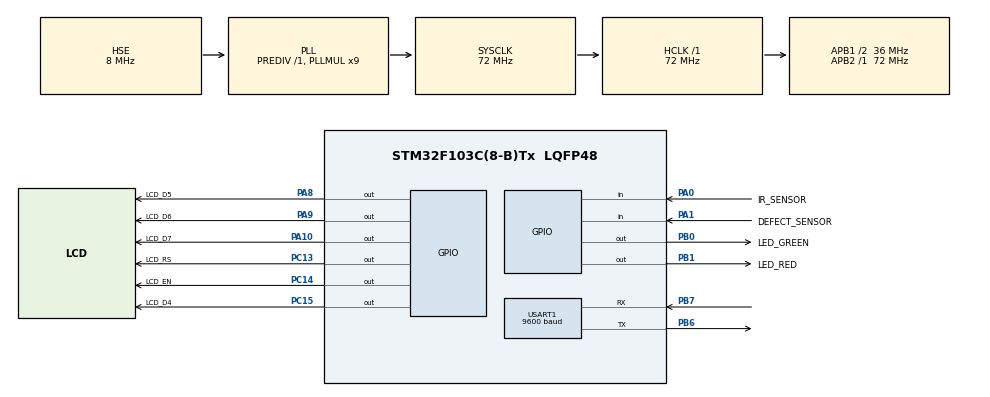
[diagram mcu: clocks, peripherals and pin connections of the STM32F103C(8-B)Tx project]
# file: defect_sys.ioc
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Mcu.Family=STM32F1
Mcu.Name=STM32F103C(8-B)Tx
Mcu.Package=LQFP48
NVIC.PriorityGroup=NVIC_PRIORITYGROUP_4
PA0-WKUP.GPIO_Label=IR_SENSOR
PA0-WKUP.Signal=GPIO_Input
PA1.GPIO_Label=DEFECT_SENSOR
PA1.Signal=GPIO_Input
PA10.GPIO_Label=LCD_D7
PA10.Signal=GPIO_Output
PA13.Mode=Serial_Wire
PA13.Signal=SYS_JTMS-SWDIO
PA14.Mode=Serial_Wire
PA14.Signal=SYS_JTCK-SWCLK
PA8.GPIO_Label=LCD_D5
PA8.Signal=GPIO_Output
PA9.GPIO_Label=LCD_D6
PA9.Signal=GPIO_Output
PB0.GPIO_Label=LED_GREEN
PB0.Signal=GPIO_Output
PB1.GPIO_Label=LED_RED
PB1.Signal=GPIO_Output
PB6.Mode=Asynchronous
PB6.Signal=USART1_TX
PB7.Mode=Asynchronous
PB7.Signal=USART1_RX
PC13-TAMPER-RTC.GPIO_Label=LCD_RS
PC13-TAMPER-RTC.Signal=GPIO_Output
PC14-OSC32_IN.GPIO_Label=LCD_EN
PC14-OSC32_IN.Signal=GPIO_Output
PC15-OSC32_OUT.GPIO_Label=LCD_D4
PC15-OSC32_OUT.Signal=GPIO_Output
PD0-OSC_IN.Mode=HSE-External-Oscillator
PD0-OSC_IN.Signal=RCC_OSC_IN
PD1-OSC_OUT.Mode=HSE-External-Oscillator
PD1-OSC_OUT.Signal=RCC_OSC_OUT
ProjectManager.HeapSize=0x200
ProjectManager.StackSize=0x400
ProjectManager.TargetToolchain=STM32CubeIDE
RCC.AHBFreq_Value=72000000
RCC.APB1CLKDivider=RCC_HCLK_DIV2
RCC.APB1Freq_Value=36000000
RCC.APB1TimFreq_Value=72000000
RCC.APB2Freq_Value=72000000
RCC.APB2TimFreq_Value=72000000
RCC.HCLKFreq_Value=72000000
RCC.PLLMUL=RCC_PLL_MUL9
RCC.PLLSourceVirtual=RCC_PLLSOURCE_HSE
RCC.SYSCLKFreq_VALUE=72000000
RCC.SYSCLKSource=RCC_SYSCLKSOURCE_PLLCLK
RCC.USBFreq_Value=72000000
USART1.BaudRate=9600
USART1.VirtualMode=VM_ASYNC
board=custom

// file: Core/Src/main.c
/* USER CODE BEGIN Header */
/**
  ******************************************************************************
  * @file           : main.c
  * @brief          : Main program body
  ******************************************************************************
  * @attention
  *
  * Copyright (c) 2026 STMicroelectronics.
  * All rights reserved.
  *
  * This software is licensed under terms that can be found in the LICENSE file
  * in the root directory of this software component.
  * If no LICENSE file comes with this software, it is provided AS-IS.
  *
  ******************************************************************************
  */
/* USER CODE END Header */
#include "main.h"
#include "usart.h"
#include "gpio.h"

/* USER CODE BEGIN Includes */
#include <string.h>
#include <stdio.h>
/* USER CODE END Includes */

/* USER CODE BEGIN PD */
#define LCD_RS_GPIO_Port   GPIOC
#define LCD_RS_Pin         GPIO_PIN_13
#define LCD_EN_GPIO_Port   GPIOC
#define LCD_EN_Pin         GPIO_PIN_14

#define LCD_D4_GPIO_Port   GPIOC
#define LCD_D4_Pin         GPIO_PIN_15
#define LCD_D5_GPIO_Port   GPIOA
#define LCD_D5_Pin         GPIO_PIN_8
#define LCD_D6_GPIO_Port   GPIOA
#define LCD_D6_Pin         GPIO_PIN_9
#define LCD_D7_GPIO_Port   GPIOA
#define LCD_D7_Pin         GPIO_PIN_10
/* USER CODE END PD */

/* USER CODE BEGIN PV */
int total_products = 0;
int healthy_products = 0;
int defect_products = 0;
/* USER CODE END PV */

void SystemClock_Config(void);
/* USER CODE BEGIN PFP */
void LCD_Init(void);
void LCD_Command(uint8_t cmd);
void LCD_Data(uint8_t data);
void LCD_SendString(char *str);
void LCD_SetCursor(uint8_t row, uint8_t col);
void Update_LCD_Display(int total, int healthy, int defect);
/* USER CODE END PFP */

int main(void)
{

  /* MCU Configuration--------------------------------------------------------*/

  /* Reset of all peripherals, Initializes the Flash interface and the Systick. */
  HAL_Init();

  /* Configure the system clock */
  SystemClock_Config();

  /* Initialize all configured peripherals */
  MX_GPIO_Init();
  MX_USART1_UART_Init();
  /* USER CODE BEGIN 2 */
  LCD_Init();

    // Display Startup Splash Screen
  LCD_SetCursor(1, 1);
  LCD_SendString("System Ready...");
  HAL_Delay(1000);
  LCD_Command(0x01); // Flush and Clear LCD

  Update_LCD_Display(total_products, healthy_products, defect_products);
  /* USER CODE END 2 */

  /* Infinite loop */
  /* USER CODE BEGIN WHILE */
    while (1)
    {
      if (HAL_GPIO_ReadPin(GPIOA, GPIO_PIN_0) == GPIO_PIN_SET)
      {
        total_products++;

        if (HAL_GPIO_ReadPin(GPIOA, GPIO_PIN_1) == GPIO_PIN_SET)
        {
          defect_products++;

          HAL_GPIO_WritePin(GPIOB, GPIO_PIN_1, GPIO_PIN_SET);
          HAL_GPIO_WritePin(GPIOB, GPIO_PIN_0, GPIO_PIN_RESET);

          char *msg = "problem\r\n";
          HAL_UART_Transmit(&huart1, (uint8_t*)msg, strlen(msg), HAL_MAX_DELAY);
        }
        else
        {
          healthy_products++;

          HAL_GPIO_WritePin(GPIOB, GPIO_PIN_0, GPIO_PIN_SET);
          HAL_GPIO_WritePin(GPIOB, GPIO_PIN_1, GPIO_PIN_RESET);

          char *msg = "healthy\r\n";
          HAL_UART_Transmit(&huart1, (uint8_t*)msg, strlen(msg), HAL_MAX_DELAY);
        }

        Update_LCD_Display(total_products, healthy_products, defect_products);

        HAL_Delay(1000);

        HAL_GPIO_WritePin(GPIOB, GPIO_PIN_0, GPIO_PIN_RESET);
        HAL_GPIO_WritePin(GPIOB, GPIO_PIN_1, GPIO_PIN_RESET);
      }

      HAL_Delay(50); // Small cycle delay to prevent simulation processing locking
    /* USER CODE END WHILE */

  }
}

void SystemClock_Config(void)
{
  RCC_OscInitTypeDef RCC_OscInitStruct = {0};
  RCC_ClkInitTypeDef RCC_ClkInitStruct = {0};

  /** Initializes the RCC Oscillators according to the specified parameters
  * in the RCC_OscInitTypeDef structure.
  */
  RCC_OscInitStruct.OscillatorType = RCC_OSCILLATORTYPE_HSE;
  RCC_OscInitStruct.HSEState = RCC_HSE_ON;
  RCC_OscInitStruct.HSEPredivValue = RCC_HSE_PREDIV_DIV1;
  RCC_OscInitStruct.HSIState = RCC_HSI_ON;
  RCC_OscInitStruct.PLL.PLLState = RCC_PLL_ON;
  RCC_OscInitStruct.PLL.PLLSource = RCC_PLLSOURCE_HSE;
  RCC_OscInitStruct.PLL.PLLMUL = RCC_PLL_MUL9;
  if (HAL_RCC_OscConfig(&RCC_OscInitStruct) != HAL_OK)
  {
    Error_Handler();
  }

  /** Initializes the CPU, AHB and APB buses clocks
  */
  RCC_ClkInitStruct.ClockType = RCC_CLOCKTYPE_HCLK|RCC_CLOCKTYPE_SYSCLK
                              |RCC_CLOCKTYPE_PCLK1|RCC_CLOCKTYPE_PCLK2;
  RCC_ClkInitStruct.SYSCLKSource = RCC_SYSCLKSOURCE_PLLCLK;
  RCC_ClkInitStruct.AHBCLKDivider = RCC_SYSCLK_DIV1;
  RCC_ClkInitStruct.APB1CLKDivider = RCC_HCLK_DIV2;
  RCC_ClkInitStruct.APB2CLKDivider = RCC_HCLK_DIV1;

  if (HAL_RCC_ClockConfig(&RCC_ClkInitStruct, FLASH_LATENCY_2) != HAL_OK)
  {
    Error_Handler();
  }
}

/* USER CODE BEGIN 4 */
void LCD_EnablePulse(void)
{
  HAL_GPIO_WritePin(LCD_EN_GPIO_Port, LCD_EN_Pin, GPIO_PIN_SET);
  HAL_Delay(1);
  HAL_GPIO_WritePin(LCD_EN_GPIO_Port, LCD_EN_Pin, GPIO_PIN_RESET);
  HAL_Delay(1);
}

void LCD_Send4Bit(uint8_t val)
{
  HAL_GPIO_WritePin(LCD_D4_GPIO_Port, LCD_D4_Pin, (val >> 0) & 0x01);
  HAL_GPIO_WritePin(LCD_D5_GPIO_Port, LCD_D5_Pin, (val >> 1) & 0x01);
  HAL_GPIO_WritePin(LCD_D6_GPIO_Port, LCD_D6_Pin, (val >> 2) & 0x01);
  HAL_GPIO_WritePin(LCD_D7_GPIO_Port, LCD_D7_Pin, (val >> 3) & 0x01);
  LCD_EnablePulse();
}

void LCD_Command(uint8_t cmd)
{
  HAL_GPIO_WritePin(LCD_RS_GPIO_Port, LCD_RS_Pin, GPIO_PIN_RESET);
  LCD_Send4Bit(cmd >> 4);
  LCD_Send4Bit(cmd & 0x0F);
}

void LCD_Data(uint8_t data)
{
  HAL_GPIO_WritePin(LCD_RS_GPIO_Port, LCD_RS_Pin, GPIO_PIN_SET);
  LCD_Send4Bit(data >> 4);
  LCD_Send4Bit(data & 0x0F);
}

void LCD_Init(void)
{
  HAL_Delay(50);
  LCD_Send4Bit(0x03);
  HAL_Delay(5);
  LCD_Send4Bit(0x03);
  HAL_Delay(1);
  LCD_Send4Bit(0x03);
  LCD_Send4Bit(0x02);

  LCD_Command(0x28);
  LCD_Command(0x0C);
  LCD_Command(0x06);
  LCD_Command(0x01);
  HAL_Delay(2);
}

void LCD_SendString(char *str)
{
  while(*str) {
    LCD_Data(*str++);
  }
}

void LCD_SetCursor(uint8_t row, uint8_t col)
{
  uint8_t address = (row == 1) ? (0x80 + col - 1) : (0xC0 + col - 1);
  LCD_Command(address);
}

void Update_LCD_Display(int total, int healthy, int defect)
{
  char line1[17];
  char line2[17];

  sprintf(line1, "Total: %-10d", total);
  sprintf(line2, "H:%-4d | D:%-4d", healthy, defect);

  LCD_SetCursor(1, 1);
  LCD_SendString(line1);
  LCD_SetCursor(2, 1);
  LCD_SendString(line2);
}
/* USER CODE END 4 */

void Error_Handler(void)
{
  __disable_irq();
  while (1)
  {
  }
}
